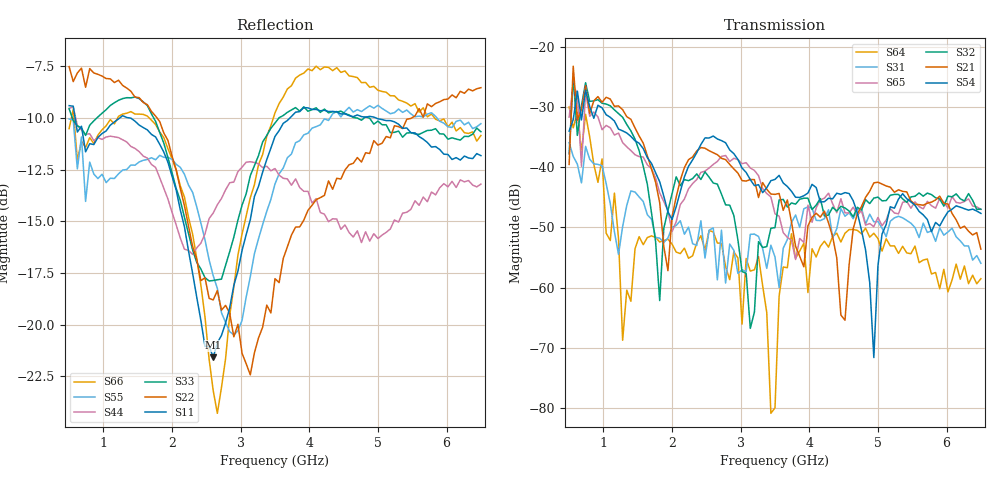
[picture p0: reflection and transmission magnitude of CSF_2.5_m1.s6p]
!Keysight Technologies,M9804A,MY58100912,A.14.10.03
!Date: Thursday, April 27, 2023 10:28:33
!Correction: S11(C  6-Port  )
!S12(C  6-Port  )
!S13(C  6-Port  )
!S14(C  6-Port  )
!S15(C  6-Port  )
!S16(C  6-Port  )
!S21(C  6-Port  )
!S22(C  6-Port  )
!S23(C  6-Port  )
!S24(C  6-Port  )
!S25(C  6-Port  )
!S26(C  6-Port  )
!S31(C  6-Port  )
!S32(C  6-Port  )
!S33(C  6-Port  )
!S34(C  6-Port  )
!S35(C  6-Port  )
!S36(C  6-Port  )
!S41(C  6-Port  )
!S42(C  6-Port  )
!S43(C  6-Port  )
!S44(C  6-Port  )
!S45(C  6-Port  )
!S46(C  6-Port  )
!S51(C  6-Port  )
!S52(C  6-Port  )
!S53(C  6-Port  )
!S54(C  6-Port  )
!S55(C  6-Port  )
!S56(C  6-Port  )
!S61(C  6-Port  )
!S62(C  6-Port  )
!S63(C  6-Port  )
!S64(C  6-Port  )
!S65(C  6-Port  )
!S66(C  6-Port  )
!S6P File: Measurement: :
# Hz S  RI  R 50
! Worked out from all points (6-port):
!   101 points, 500 MHz to 6.5 GHz, reference 50 ohm
!   strongest paths, dB at 500 MHz, 2 GHz, 3.5 GHz, 5 GHz, 6.5 GHz:
!     S54: -34.0, -48.7, -42.0, -56.3, -47.7
!     S21: -39.5, -48.2, -44.5, -42.5, -53.6
!     S32: -37.8, -44.4, -50.0, -45.0, -47.0
!     S65: -31.7, -50.7, -47.7, -48.3, -47.0
!     S31: -35.9, -50.0, -54.9, -49.0, -56.0
!     S64: -30.0, -52.8, -80.0, -51.8, -58.5
!   lowest |S11| = -21.6 dB at 2.6 GHz (marker M1), VSWR 1.18, Z = 42.6 + j2.06 ohm
!   |S11| at or under -10 dB: 587.8 MHz to 1.235 GHz (647.1 MHz wide, 71 % of centre); 1.397 GHz to 3.715 GHz (2.318 GHz wide, 90.7 % of centre); 4.977 GHz to end of sweep
